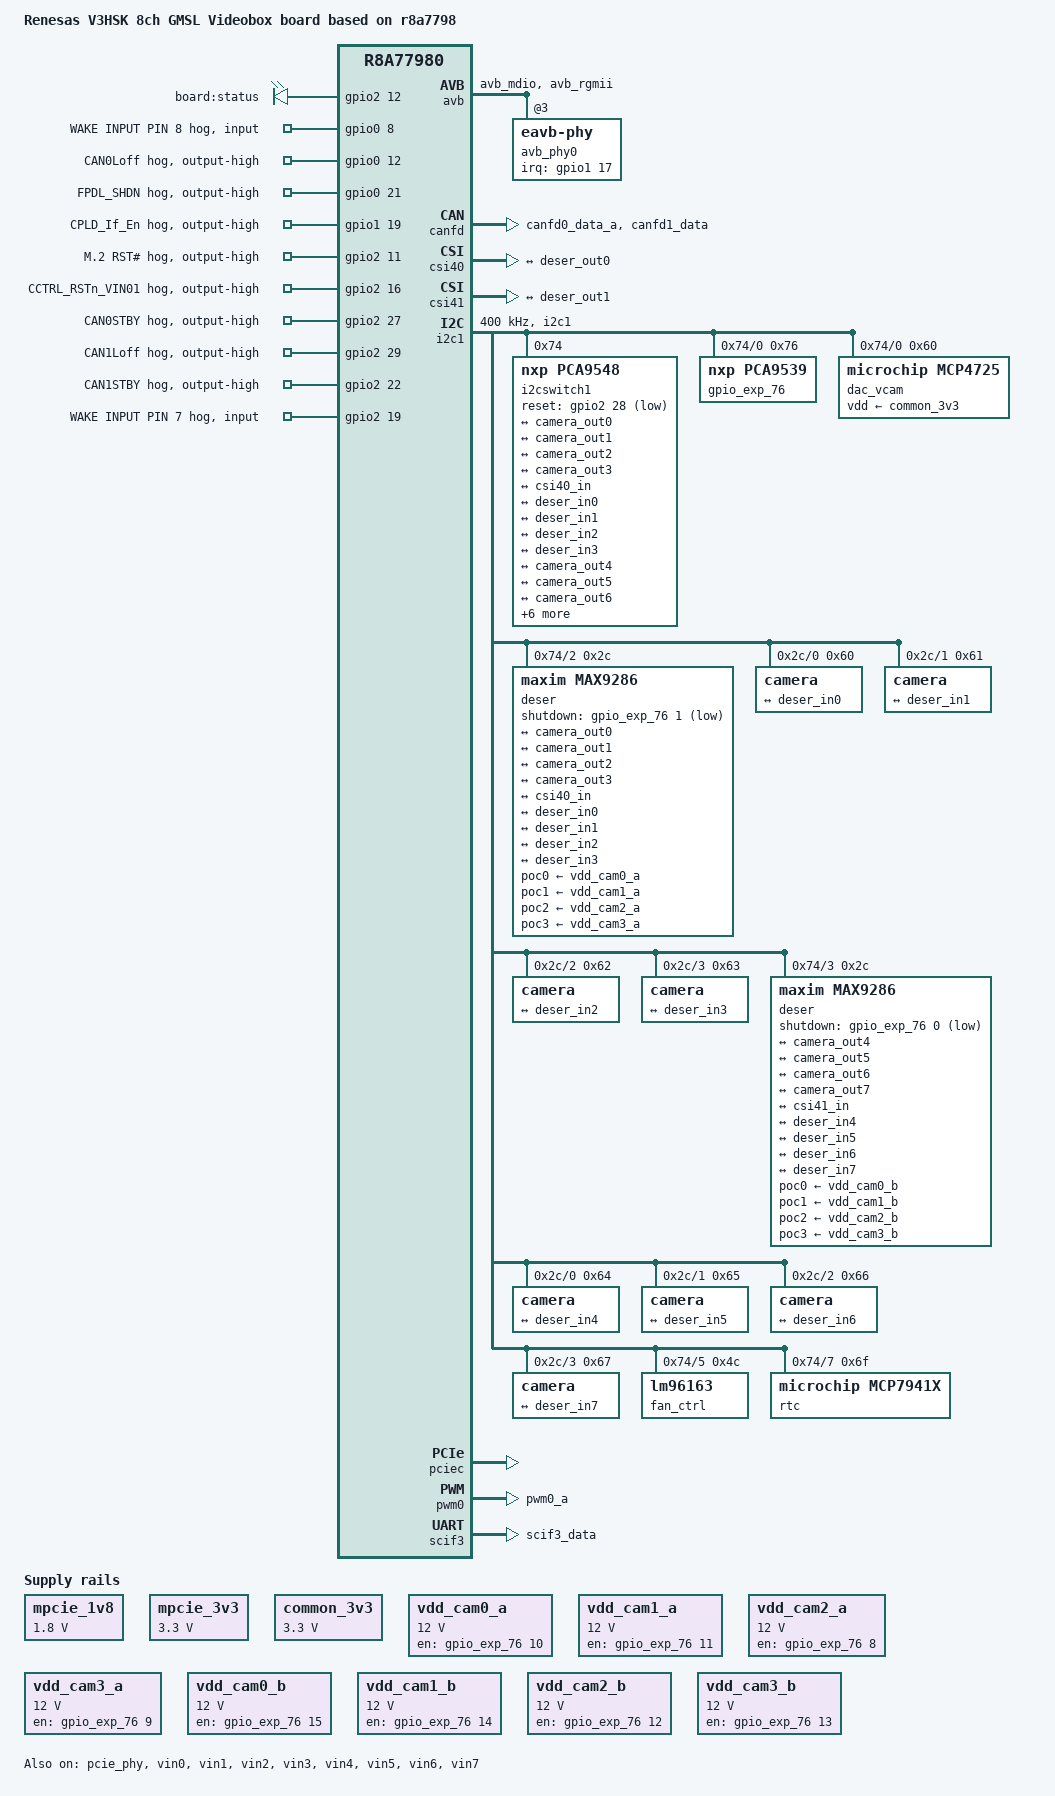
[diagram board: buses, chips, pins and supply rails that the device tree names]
// SPDX-License-Identifier: GPL-2.0
/*
 * Device Tree Source for the V3HSK GMSL 8ch Videobox board on r8a77980
 *
 * Copyright (C) 2018-2020 Cogent Embedded, Inc.
 */

#include "r8a77980-v3hsk.dts"
#include <dt-bindings/gpio/gpio.h>
#include "camera.dtsi"

/ {
	model = "Renesas V3HSK 8ch GMSL Videobox board based on r8a7798";

	aliases {
		serial1 = &scif3;
		ethernet1 = &avb;
	};

	leds {
		compatible = "gpio-leds";

		led0 {
			label = "board:status";
			gpios = <&gpio2 12 GPIO_ACTIVE_HIGH>;
			linux,default-trigger = "none";
		};
	};

	mpcie_1v8: regulator2 {
		compatible = "regulator-fixed";
		regulator-name = "mPCIe 1v8";
		regulator-min-microvolt = <1800000>;
		regulator-max-microvolt = <1800000>;
		regulator-boot-on;
		regulator-always-on;
	};

	mpcie_3v3: regulator3 {
		compatible = "regulator-fixed";
		regulator-name = "mPCIe 3v3";
		regulator-min-microvolt = <3300000>;
		regulator-max-microvolt = <3300000>;
		regulator-boot-on;
		regulator-always-on;
	};

	common_3v3: regulator4 {
		compatible = "regulator-fixed";
		regulator-name = "main 3v3";
		regulator-min-microvolt = <3300000>;
		regulator-max-microvolt = <3300000>;
		regulator-boot-on;
		regulator-always-on;
	};

	vdd_cam0_a: regulator-vdd-cam0-a {
		compatible = "regulator-fixed";
		regulator-name = "Video PWR0";
		regulator-min-microvolt = <12000000>;
		regulator-max-microvolt = <12000000>;
		gpio = <&gpio_exp_76 10 GPIO_ACTIVE_HIGH>;
		enable-active-high;
	};

	vdd_cam1_a: regulator-vdd-cam1-a {
		compatible = "regulator-fixed";
		regulator-name = "Video-A PWR1";
		regulator-min-microvolt = <12000000>;
		regulator-max-microvolt = <12000000>;
		gpio = <&gpio_exp_76 11 GPIO_ACTIVE_HIGH>;
		enable-active-high;
	};

	vdd_cam2_a: regulator-vdd-cam2-a {
		compatible = "regulator-fixed";
		regulator-name = "Video-A PWR2";
		regulator-min-microvolt = <12000000>;
		regulator-max-microvolt = <12000000>;
		gpio = <&gpio_exp_76 8 GPIO_ACTIVE_HIGH>;
		enable-active-high;
	};

	vdd_cam3_a: regulator-vdd-cam3-a {
		compatible = "regulator-fixed";
		regulator-name = "Video-A PWR3";
		regulator-min-microvolt = <12000000>;
		regulator-max-microvolt = <12000000>;
		gpio = <&gpio_exp_76 9 GPIO_ACTIVE_HIGH>;
		enable-active-high;
	};

	vdd_cam0_b: regulator-vdd-cam0-b {
		compatible = "regulator-fixed";
		regulator-name = "Video-B PWR0";
		regulator-min-microvolt = <12000000>;
		regulator-max-microvolt = <12000000>;
		gpio = <&gpio_exp_76 15 GPIO_ACTIVE_HIGH>;
		enable-active-high;
	};

	vdd_cam1_b: regulator-vdd-cam1-b {
		compatible = "regulator-fixed";
		regulator-name = "Video-B PWR1";
		regulator-min-microvolt = <12000000>;
		regulator-max-microvolt = <12000000>;
		gpio = <&gpio_exp_76 14 GPIO_ACTIVE_HIGH>;
		enable-active-high;
	};

	vdd_cam2_b: regulator-vdd-cam2-b {
		compatible = "regulator-fixed";
		regulator-name = "Video-B PWR2";
		regulator-min-microvolt = <12000000>;
		regulator-max-microvolt = <12000000>;
		gpio = <&gpio_exp_76 12 GPIO_ACTIVE_HIGH>;
		enable-active-high;
	};

	vdd_cam3_b: regulator-vdd-cam3-b {
		compatible = "regulator-fixed";
		regulator-name = "Video-B PWR3";
		regulator-min-microvolt = <12000000>;
		regulator-max-microvolt = <12000000>;
		gpio = <&gpio_exp_76 13 GPIO_ACTIVE_HIGH>;
		enable-active-high;
	};
};

&avb {
	pinctrl-0 = <&avb_pins>;
	pinctrl-names = "default";
	renesas,no-ether-link;
	phy-handle = <&avb_phy0>;
	status = "okay";
	phy-int-gpio = <&gpio1 17 GPIO_ACTIVE_LOW>;

	avb_phy0: eavb-phy@0 {
		rxc-skew-ps = <1500>;
		rxdv-skew-ps = <420>; /* default */
		rxd0-skew-ps = <420>; /* default */
		rxd1-skew-ps = <420>; /* default */
		rxd2-skew-ps = <420>; /* default */
		rxd3-skew-ps = <420>; /* default */
		txc-skew-ps = <900>; /* default */
		txen-skew-ps = <420>; /* default */
		txd0-skew-ps = <420>; /* default */
		txd1-skew-ps = <420>; /* default */
		txd2-skew-ps = <420>; /* default */
		txd3-skew-ps = <420>; /* default */
		reg = <3>;
		interrupt-parent = <&gpio1>;
		interrupts = <17 IRQ_TYPE_LEVEL_LOW>;
		max-speed = <1000>;
	};
};

&canfd {
	pinctrl-0 = <&canfd0_pins &canfd1_pins>;
	pinctrl-names = "default";
	status = "okay";

	channel0 {
		status = "okay";
	};

	channel1 {
		status = "okay";
	};
};

&csi40 {
	status = "okay";

	ports {
		#address-cells = <1>;
		#size-cells = <0>;

		port@0 {
			reg = <0>;

			csi40_in: endpoint {
				clock-lanes = <0>;
				data-lanes = <1 2 3 4>;
				remote-endpoint = <&deser_out0>;
			};
		};
	};
};

&csi41 {
	status = "okay";

	ports {
		#address-cells = <1>;
		#size-cells = <0>;

		port@0 {
			reg = <0>;

			csi41_in: endpoint {
				clock-lanes = <0>;
				data-lanes = <1 2 3 4>;
				remote-endpoint = <&deser_out1>;
			};
		};
	};
};

&i2c1 {
	pinctrl-0 = <&i2c1_pins>;
	pinctrl-names = "default";
	status = "okay";

	clock-frequency = <400000>;
	multi-master;

	i2cswitch1: i2c-switch@74 {
		compatible = "nxp,pca9548";
		#address-cells = <1>;
		#size-cells = <0>;
		reg = <0x74>;
		reset-gpios = <&gpio2 28 GPIO_ACTIVE_LOW>;

		i2c@0 {
			#address-cells = <1>;
			#size-cells = <0>;
			reg = <0>;

			gpio_exp_76: gpio@76 {
				compatible = "nxp,pca9539";
				reg = <0x76>;
				gpio-controller;
				#gpio-cells = <2>;

				cmr_pwen {
					gpio-hog;
					gpios = <3 GPIO_ACTIVE_HIGH>;
					output-high;
					line-name = "CmrPEN";
				};
			};

			dac_vcam: dac_vcam@60 {
				compatible = "microchip,mcp4725";
				reg = <0x60>;
				vdd-supply = <&common_3v3>;
			};
		};

		i2c@2 {
			#address-cells = <1>;
			#size-cells = <0>;
			reg = <2>;

			deser@2c {
				compatible = "maxim,max9286";
				#address-cells = <1>;
				#size-cells = <0>;
				reg = <0x2c>;
				regs = <0x0c 0x0d 0x0e 0x0f>;
				shutdown-gpios = <&gpio_exp_76 1 GPIO_ACTIVE_LOW>;

				poc0-supply = <&vdd_cam0_a>;
				poc1-supply = <&vdd_cam1_a>;
				poc2-supply = <&vdd_cam2_a>;
				poc3-supply = <&vdd_cam3_a>;

				ports {
					#address-cells = <1>;
					#size-cells = <0>;

					port@0 {
						reg = <0>;
						deser_in0: endpoint {
							remote-endpoint = <&camera_out0>;
						};
					};

					port@1 {
						reg = <1>;
						deser_in1: endpoint {
							remote-endpoint = <&camera_out1>;
						};
					};

					port@2 {
						reg = <2>;
						deser_in2: endpoint {
							remote-endpoint = <&camera_out2>;
						};
					};

					port@3 {
						reg = <3>;
						deser_in3: endpoint {
							remote-endpoint = <&camera_out3>;
						};
					};

					port@4 {
						reg = <4>;
						deser_out0: endpoint {
							clock-lanes = <0>;
							data-lanes = <1 2 3 4>;
							remote-endpoint = <&csi40_in>;
						};
					};
				};

				i2c@0 {
					#address-cells = <1>;
					#size-cells = <0>;
					reg = <0>;

					camera@60 {
						compatible = LVDS_CAMERA;
						reg = <0x60 0x0c>;

						port {
							camera_out0: endpoint {
								remote-endpoint = <&deser_in0>;
							};
						};
					};
				};

				i2c@1 {
					#address-cells = <1>;
					#size-cells = <0>;
					reg = <1>;

					camera@61 {
						compatible = LVDS_CAMERA;
						reg = <0x61 0x0d>;

						port {
							camera_out1: endpoint {
								remote-endpoint = <&deser_in1>;
							};
						};
					};
				};

				i2c@2 {
					#address-cells = <1>;
					#size-cells = <0>;
					reg = <2>;

					camera@62 {
						compatible = LVDS_CAMERA;
						reg = <0x62 0x0e>;

						port {
							camera_out2: endpoint {
								remote-endpoint = <&deser_in2>;
							};
						};
					};
				};

				i2c@3 {
					#address-cells = <1>;
					#size-cells = <0>;
					reg = <3>;

					camera@63 {
						compatible = LVDS_CAMERA;
						reg = <0x63 0x0f>;

						port {
							camera_out3: endpoint {
								remote-endpoint = <&deser_in3>;
							};
						};
					};
				};
			};
		};

		i2c@3 {
			#address-cells = <1>;
			#size-cells = <0>;
			reg = <3>;

			deser@2c {
				compatible = "maxim,max9286";
				#address-cells = <1>;
				#size-cells = <0>;
				reg = <0x2c>;
				regs = <0x1c 0x1d 0x1e 0x1f>;
				shutdown-gpios = <&gpio_exp_76 0 GPIO_ACTIVE_LOW>;

				poc0-supply = <&vdd_cam0_b>;
				poc1-supply = <&vdd_cam1_b>;
				poc2-supply = <&vdd_cam2_b>;
				poc3-supply = <&vdd_cam3_b>;

				ports {
					#address-cells = <1>;
					#size-cells = <0>;

					port@0 {
						reg = <0>;
						deser_in4: endpoint {
							remote-endpoint = <&camera_out4>;
						};
					};

					port@1 {
						reg = <1>;
						deser_in5: endpoint {
							remote-endpoint = <&camera_out5>;
						};
					};

					port@2 {
						reg = <2>;
						deser_in6: endpoint {
							remote-endpoint = <&camera_out6>;
						};
					};

					port@3 {
						reg = <3>;
						deser_in7: endpoint {
							remote-endpoint = <&camera_out7>;
						};
					};

					port@4 {
						reg = <4>;
						deser_out1: endpoint {
							clock-lanes = <0>;
							data-lanes = <1 2 3 4>;
							remote-endpoint = <&csi41_in>;
						};
					};
				};

				i2c@0 {
					#address-cells = <1>;
					#size-cells = <0>;
					reg = <0>;

					camera@64 {
						compatible = LVDS_CAMERA;
						reg = <0x64 0x1c>;

						port {
							camera_out4: endpoint {
								remote-endpoint = <&deser_in4>;
							};
						};
					};
				};

				i2c@1 {
					#address-cells = <1>;
					#size-cells = <0>;
					reg = <1>;

					camera@65 {
						compatible = LVDS_CAMERA;
						reg = <0x65 0x1d>;

						port {
							camera_out5: endpoint {
								remote-endpoint = <&deser_in5>;
							};
						};
					};
				};

				i2c@2 {
					#address-cells = <1>;
					#size-cells = <0>;
					reg = <2>;

					camera@66 {
						compatible = LVDS_CAMERA;
						reg = <0x66 0x1e>;

						port {
							camera_out6: endpoint {
								remote-endpoint = <&deser_in6>;
							};
						};
					};
				};

				i2c@3 {
					#address-cells = <1>;
					#size-cells = <0>;
					reg = <3>;

					camera@67 {
						compatible = LVDS_CAMERA;
						reg = <0x67 0x1f>;

						port {
							camera_out7: endpoint {
								remote-endpoint = <&deser_in7>;
							};
						};
					};
				};
			};
		};

		i2c@5 {
			#address-cells = <1>;
			#size-cells = <0>;
			reg = <5>;

			fan_ctrl: lm96063@4c {
				compatible = "lm96163";
				reg = <0x4c>;
			};
		};

		i2c@6 {
			#address-cells = <1>;
			#size-cells = <0>;
			reg = <6>;

			/* ext I2C bus nodes */
		};

		i2c@7 {
			#address-cells = <1>;
			#size-cells = <0>;
			reg = <7>;

			rtc: mcp79411@6f {
				compatible = "microchip,mcp7941x";
				reg = <0x6f>;
			};
		};
	};
};

&gpio0 {
	wake_pin_8 {
		gpio-hog;
		gpios = <8 GPIO_ACTIVE_HIGH>;
		input;
		line-name = "WAKE INPUT PIN 8";
	};

	can0_load {
		gpio-hog;
		gpios = <12 GPIO_ACTIVE_HIGH>;
		output-high;
		line-name = "CAN0Loff";
	};

	fpdl_shdn {
		gpio-hog;
		gpios = <21 GPIO_ACTIVE_HIGH>;
		output-high;
		line-name = "FPDL_SHDN";
	};
};

&gpio1 {
	md_buf_en {
		gpio-hog;
		gpios = <19 GPIO_ACTIVE_HIGH>;
		output-high;
		line-name = "CPLD_If_En";
	};
};

&gpio2 {
	m2_rst {
		gpio-hog;
		gpios = <11 GPIO_ACTIVE_HIGH>;
		output-high;
		line-name = "M.2 RST#";
	};

	rst_vin01 {
		gpio-hog;
		gpios = <16 GPIO_ACTIVE_HIGH>;
		output-high;
		line-name = "CCTRL_RSTn_VIN01";
	};

	can0_stby {
		gpio-hog;
		gpios = <27 GPIO_ACTIVE_HIGH>;
		output-high;
		line-name = "CAN0STBY";
	};

	can1_load {
		gpio-hog;
		gpios = <29 GPIO_ACTIVE_HIGH>;
		output-high;
		line-name = "CAN1Loff";
	};

	can1_stby {
		gpio-hog;
		gpios = <22 GPIO_ACTIVE_HIGH>;
		output-high;
		line-name = "CAN1STBY";
	};

	wake_pin_7 {
		gpio-hog;
		gpios = <19 GPIO_ACTIVE_HIGH>;
		input;
		line-name = "WAKE INPUT PIN 7";
	};
};

&pcie_bus_clk {
	clock-frequency = <100000000>;
	status = "okay";
};

&pciec {
	pcie3v3-supply = <&mpcie_3v3>;
	pcie1v8-supply = <&mpcie_1v8>;
	status = "okay";
};

&pcie_phy {
	status = "okay";
};

&pfc {
	canfd0_pins: canfd0 {
		groups = "canfd0_data_a";
		function = "canfd0";
	};

	canfd1_pins: canfd1 {
		groups = "canfd1_data";
		function = "canfd1";
	};

	avb_pins: avb {
		groups = "avb_mdio", "avb_rgmii";
		function = "avb";
	};

	i2c1_pins: i2c1 {
		groups = "i2c1";
		function = "i2c1";
	};

	pwm0_pins: pwm0 {
		groups = "pwm0_a";
		function = "pwm0";
	};

	scif3_pins: scif3 {
		groups = "scif3_data";
		function = "scif3";
	};
};

&pwm0 {
	pinctrl-0 = <&pwm0_pins>;
	pinctrl-names = "default";
	status = "okay";
};

&scif3 {
	pinctrl-0 = <&scif3_pins>;
	pinctrl-names = "default";

	status = "okay";
};

&tpu {
	status = "disabled";
};

&vin0 {
	status = "okay";
};

&vin1 {
	status = "okay";
};

&vin2 {
	status = "okay";
};

&vin3 {
	status = "okay";
};

&vin4 {
	status = "okay";
};

&vin5 {
	status = "okay";
};

&vin6 {
	status = "okay";
};

&vin7 {
	status = "okay";
};
